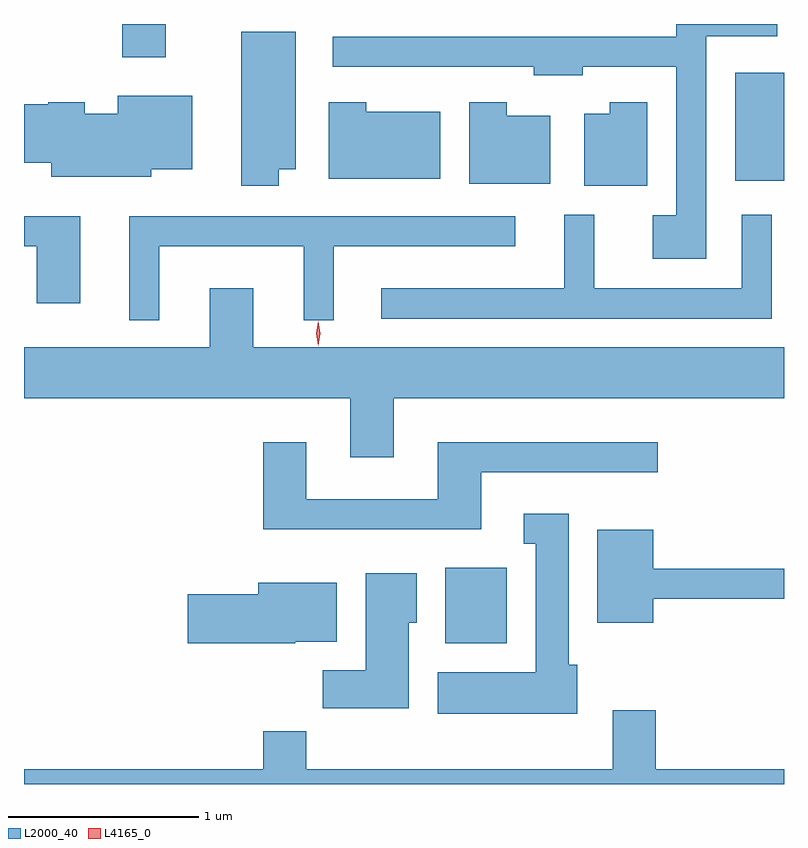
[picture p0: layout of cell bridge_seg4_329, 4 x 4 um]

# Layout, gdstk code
import gdstk
lib = gdstk.Library(unit=1e-6, precision=1e-09)
def R(c, l, rs):  # rectangles x0, y0, x1, y1
    for r in rs: c.add(gdstk.rectangle(r[:2], r[2:], *l))
def P(c, l, *ps):  # polygons
    for p in ps: c.add(gdstk.Polygon(p, *l))
L2000_40 = (2000, 40)
L4165_0 = (4165, 0)

bridge_seg4_329 = lib.new_cell('bridge_seg4_329')
R(bridge_seg4_329, L2000_40, [(726.881,1313.426,727.204,1313.824), (728.406,1315.861,728.663,1316.429), (725.181,1316.511,725.409,1316.686)])
P(bridge_seg4_329, L2000_40, [(728.254,1316.621),(728.628,1316.621),(728.628,1316.686),(728.096,1316.686),(728.096,1316.619),(726.288,1316.619),(726.288,1316.461),(727.346,1316.461),(727.346,1316.416),(727.604,1316.416),(727.604,1316.461),(728.096,1316.461),(728.096,1315.679),(727.971,1315.679),(727.971,1315.451),(728.254,1315.451)],
  [(726.004,1315.921),(726.094,1315.921),(726.094,1316.644),(725.806,1316.644),(725.806,1315.836),(726.004,1315.836)],
  [(725.334,1315.921),(725.549,1315.921),(725.549,1316.309),(725.156,1316.309),(725.156,1316.214),(724.984,1316.214),(724.984,1316.274),(724.79,1316.274),(724.79,1316.264),(724.663,1316.264),(724.663,1315.956),(724.806,1315.956),(724.806,1315.881),(725.334,1315.881)],
  [(726.854,1316.224),(726.464,1316.224),(726.464,1316.274),(726.266,1316.274),(726.266,1315.871),(726.854,1315.871)],
  [(727.434,1316.204),(727.204,1316.204),(727.204,1316.274),(727.006,1316.274),(727.006,1315.846),(727.434,1315.846)],
  [(727.944,1316.274),(727.746,1316.274),(727.746,1316.214),(727.611,1316.214),(727.611,1315.836),(727.944,1315.836)],
  [(728.599,1315.683),(728.441,1315.683),(728.441,1315.294),(727.664,1315.294),(727.664,1315.683),(727.506,1315.683),(727.506,1315.294),(726.543,1315.294),(726.543,1315.136),(728.599,1315.136)],
  [(724.959,1315.674),(724.663,1315.674),(724.663,1315.516),(724.731,1315.516),(724.731,1315.216),(724.959,1315.216)],
  [(725.374,1315.516),(726.136,1315.516),(726.136,1315.128),(726.294,1315.128),(726.294,1315.516),(727.248,1315.516),(727.248,1315.674),(725.216,1315.674),(725.216,1315.128),(725.374,1315.128)],
  [(726.609,1314.716),(728.663,1314.716),(728.663,1314.984),(725.869,1314.984),(725.869,1315.294),(725.641,1315.294),(725.641,1314.984),(724.663,1314.984),(724.663,1314.716),(726.381,1314.716),(726.381,1314.406),(726.609,1314.406)],
  [(727.069,1314.326),(727.998,1314.326),(727.998,1314.484),(726.841,1314.484),(726.841,1314.184),(726.149,1314.184),(726.149,1314.484),(725.921,1314.484),(725.921,1314.026),(727.069,1314.026)],
  [(727.574,1313.314),(727.529,1313.314),(727.529,1314.109),(727.293,1314.109),(727.293,1313.951),(727.356,1313.951),(727.356,1313.274),(726.841,1313.274),(726.841,1313.056),(727.574,1313.056)],
  [(727.974,1313.661),(728.663,1313.661),(728.663,1313.819),(727.974,1313.819),(727.974,1314.024),(727.681,1314.024),(727.681,1313.536),(727.974,1313.536)],
  [(726.689,1313.536),(726.729,1313.536),(726.729,1313.794),(726.461,1313.794),(726.461,1313.284),(726.236,1313.284),(726.236,1313.086),(726.689,1313.086)],
  [(726.09,1313.436),(726.309,1313.436),(726.309,1313.744),(725.896,1313.744),(725.896,1313.684),(725.526,1313.684),(725.526,1313.426),(726.09,1313.426)],
  [(728.663,1312.764),(727.989,1312.764),(727.989,1313.074),(727.761,1313.074),(727.761,1312.764),(726.149,1312.764),(726.149,1312.964),(725.921,1312.964),(725.921,1312.764),(724.663,1312.764),(724.663,1312.686),(728.663,1312.686)])
P(bridge_seg4_329, L4165_0, [(726.212,1314.992),(726.211,1314.993),(726.202,1315.057),(726.211,1315.121),(726.212,1315.122),(726.212,1315.121),(726.222,1315.057),(726.212,1314.993)])

lib.write_gds('bridge_seg4_329.gds')
